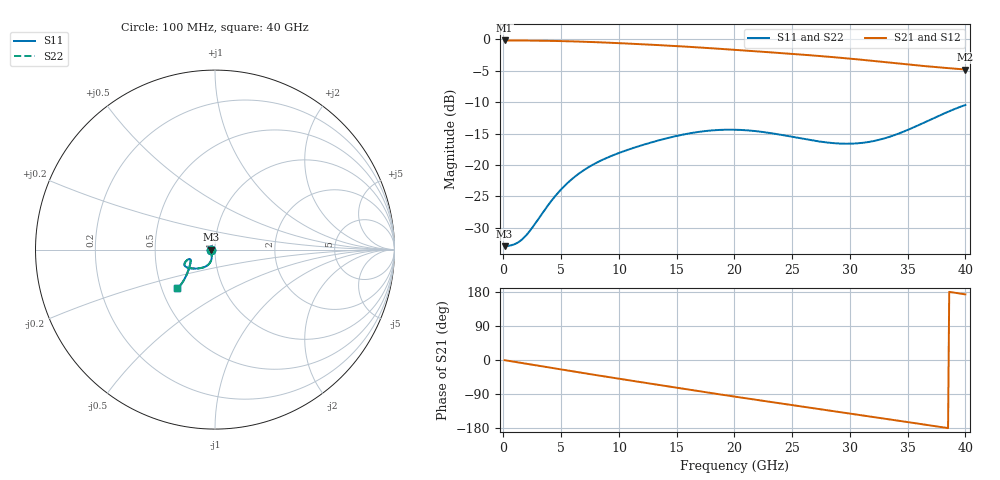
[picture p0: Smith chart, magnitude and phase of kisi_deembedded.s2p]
! D_s8_stitch_0p5: kisi-fdtd, de-embedded with the 2×thru
# Hz S RI R 50
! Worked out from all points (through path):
!   400 points, 100 MHz to 40 GHz, reference 50 ohm
!   highest |S21| = -0.19 dB at 100 MHz (marker M1); lowest = -4.8 dB at 40 GHz (marker M2)
!   group delay of S21, straight-line fit = 12.9 ps
!   lowest |S11| = -32.9 dB at 100 MHz (marker M3), VSWR 1.05, Z = 47.8 - j0.0849 ohm
!   |S11| at or under -10 dB: start of sweep to end of sweep
!   |S22| runs from -32.9 to -10.5 dB; largest |S21 - S12| = 2.2e-07
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1e8  -0.0226 -0.000888  0.9787 -0.00856  0.9787 -0.00856  -0.0226 -0.000888
1e9  -0.0217 -0.00915  0.9746 -0.0854  0.9746 -0.0854  -0.0217 -0.00915
1.7e9  -0.0202 -0.0164  0.9667 -0.1447  0.9667 -0.1447  -0.0202 -0.0164
2.3e9  -0.0189 -0.0233  0.9568 -0.1949  0.9568 -0.1949  -0.0189 -0.0233
4.7e9  -0.0203 -0.0561  0.8887 -0.3861  0.8887 -0.3861  -0.0203 -0.0561
5.7e9  -0.0258 -0.0694  0.8477 -0.4591  0.8477 -0.4591  -0.0258 -0.0694
6.8e9  -0.0351 -0.0817  0.7949 -0.5334  0.7949 -0.5334  -0.0351 -0.0817
8.3e9  -0.0514 -0.0937  0.7121 -0.6231  0.7121 -0.6231  -0.0514 -0.0937
1.01e10  -0.0736 -0.1017  0.6001 -0.7116  0.6001 -0.7116  -0.0736 -0.1017
1.18e10  -0.0954 -0.105  0.4853 -0.7757  0.4853 -0.7757  -0.0954 -0.105
1.34e10  -0.1156 -0.1056  0.3719 -0.8188  0.3719 -0.8188  -0.1156 -0.1056
1.5e10  -0.1345 -0.1044  0.2556 -0.8448  0.2556 -0.8448  -0.1345 -0.1044
1.67e10  -0.1517 -0.1009  0.1321 -0.8536  0.1321 -0.8536  -0.1517 -0.1009
2.01e10  -0.1699 -0.0866  -0.1002 -0.8173  -0.1002 -0.8173  -0.1699 -0.0866
2.34e10  -0.1643 -0.0679  -0.2912 -0.728  -0.2912 -0.728  -0.1643 -0.0679
2.67e10  -0.1476 -0.0538  -0.4418 -0.5994  -0.4418 -0.5994  -0.1476 -0.0538
2.87e10  -0.1392 -0.0528  -0.5112 -0.5059  -0.5112 -0.5059  -0.1392 -0.0528
3.03e10  -0.1359 -0.0586  -0.5533 -0.4248  -0.5533 -0.4248  -0.1359 -0.0586
3.18e10  -0.1363 -0.0705  -0.5813 -0.3456  -0.5813 -0.3456  -0.1363 -0.0705
3.34e10  -0.1406 -0.0905  -0.5992 -0.2601  -0.5992 -0.2601  -0.1406 -0.0905
3.66e10  -0.1627 -0.1497  -0.6031 -0.0949  -0.6031 -0.0949  -0.1627 -0.1497
4e10  -0.2092 -0.2153  -0.5705 0.0685  -0.5705 0.0685  -0.2092 -0.2153
